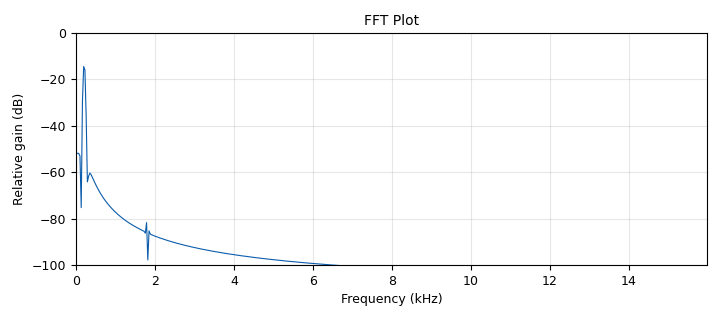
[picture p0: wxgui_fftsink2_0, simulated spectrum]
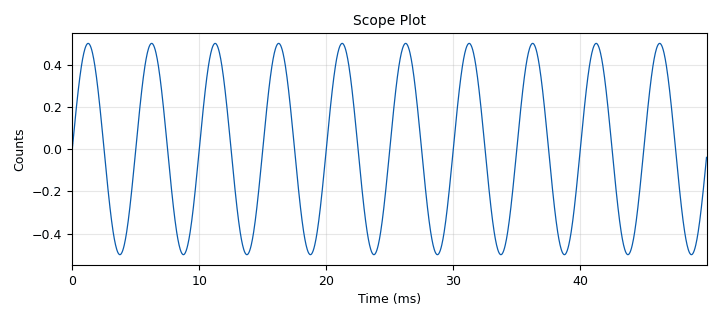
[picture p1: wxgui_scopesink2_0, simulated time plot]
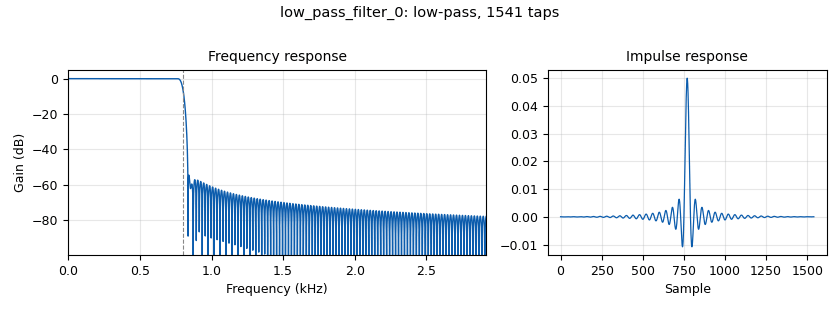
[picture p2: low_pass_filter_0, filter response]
<?xml version='1.0' encoding='utf-8'?>
<?grc format='1' created='3.7.10'?>
<flow_graph>
<block>
<key>options</key>
<param><key>id</key><value>top_block</value></param>
<param><key>generate_options</key><value>wx_gui</value></param>
</block>
<block>
<key>variable</key>
<param><key>id</key><value>samp_rate</value></param>
<param><key>value</key><value>32000</value></param>
</block>
<block>
<key>analog_sig_source_x</key>
<param><key>id</key><value>analog_sig_source_x_0</value></param>
<param><key>amp</key><value>1</value></param>
<param><key>freq</key><value>1000</value></param>
<param><key>offset</key><value>0</value></param>
<param><key>type</key><value>float</value></param>
<param><key>samp_rate</key><value>samp_rate</value></param>
<param><key>waveform</key><value>analog.GR_COS_WAVE</value></param>
</block>
<block>
<key>analog_sig_source_x</key>
<param><key>id</key><value>analog_sig_source_x_1</value></param>
<param><key>amp</key><value>1</value></param>
<param><key>freq</key><value>800</value></param>
<param><key>offset</key><value>0</value></param>
<param><key>type</key><value>float</value></param>
<param><key>samp_rate</key><value>samp_rate</value></param>
<param><key>waveform</key><value>analog.GR_COS_WAVE</value></param>
</block>
<block>
<key>audio_sink</key>
<param><key>id</key><value>audio_sink_0</value></param>
<param><key>samp_rate</key><value>samp_rate</value></param>
</block>
<block>
<key>blocks_multiply_xx</key>
<param><key>id</key><value>blocks_multiply_xx_0</value></param>
<param><key>type</key><value>float</value></param>
</block>
<block>
<key>blocks_throttle</key>
<param><key>id</key><value>blocks_throttle_0</value></param>
<param><key>samples_per_second</key><value>samp_rate</value></param>
<param><key>type</key><value>float</value></param>
</block>
<block>
<key>low_pass_filter</key>
<param><key>id</key><value>low_pass_filter_0</value></param>
<param><key>cutoff_freq</key><value>800</value></param>
<param><key>decim</key><value>1</value></param>
<param><key>type</key><value>fir_filter_fff</value></param>
<param><key>gain</key><value>1</value></param>
<param><key>samp_rate</key><value>samp_rate</value></param>
<param><key>width</key><value>50</value></param>
<param><key>win</key><value>firdes.WIN_HAMMING</value></param>
</block>
<block>
<key>notebook</key>
<param><key>id</key><value>notebook_0</value></param>
<param><key>grid_pos</key><value>0,0,10,10</value></param>
<param><key>labels</key><value>['FFT Plot','Scope Plot']</value></param>
<param><key>style</key><value>wx.NB_TOP</value></param>
</block>
<block>
<key>wxgui_fftsink2</key>
<param><key>id</key><value>wxgui_fftsink2_0</value></param>
<param><key>avg_alpha</key><value>0</value></param>
<param><key>average</key><value>False</value></param>
<param><key>baseband_freq</key><value>0</value></param>
<param><key>fft_size</key><value>1024</value></param>
<param><key>freqvar</key><value>None</value></param>
<param><key>notebook</key><value>notebook_0,0</value></param>
<param><key>peak_hold</key><value>False</value></param>
<param><key>ref_level</key><value>0</value></param>
<param><key>ref_scale</key><value>2.0</value></param>
<param><key>fft_rate</key><value>15</value></param>
<param><key>samp_rate</key><value>samp_rate</value></param>
<param><key>title</key><value>FFT Plot</value></param>
<param><key>type</key><value>float</value></param>
<param><key>win</key><value>window.hamming</value></param>
<param><key>y_divs</key><value>10</value></param>
<param><key>y_per_div</key><value>10</value></param>
</block>
<block>
<key>wxgui_scopesink2</key>
<param><key>id</key><value>wxgui_scopesink2_0</value></param>
<param><key>ac_couple</key><value>False</value></param>
<param><key>notebook</key><value>notebook_0,1</value></param>
<param><key>num_inputs</key><value>1</value></param>
<param><key>samp_rate</key><value>samp_rate</value></param>
<param><key>t_scale</key><value>0</value></param>
<param><key>title</key><value>Scope Plot</value></param>
<param><key>trig_mode</key><value>wxgui.TRIG_MODE_AUTO</value></param>
<param><key>type</key><value>float</value></param>
<param><key>v_offset</key><value>0</value></param>
<param><key>v_scale</key><value>0</value></param>
<param><key>xy_mode</key><value>False</value></param>
<param><key>y_axis_label</key><value>Counts</value></param>
</block>
<connection><source_block_id>analog_sig_source_x_0</source_block_id><sink_block_id>blocks_multiply_xx_0</sink_block_id><source_key>0</source_key><sink_key>0</sink_key></connection>
<connection><source_block_id>analog_sig_source_x_1</source_block_id><sink_block_id>blocks_multiply_xx_0</sink_block_id><source_key>0</source_key><sink_key>1</sink_key></connection>
<connection><source_block_id>blocks_multiply_xx_0</source_block_id><sink_block_id>low_pass_filter_0</sink_block_id><source_key>0</source_key><sink_key>0</sink_key></connection>
<connection><source_block_id>blocks_throttle_0</source_block_id><sink_block_id>audio_sink_0</sink_block_id><source_key>0</source_key><sink_key>0</sink_key></connection>
<connection><source_block_id>blocks_throttle_0</source_block_id><sink_block_id>wxgui_fftsink2_0</sink_block_id><source_key>0</source_key><sink_key>0</sink_key></connection>
<connection><source_block_id>blocks_throttle_0</source_block_id><sink_block_id>wxgui_scopesink2_0</sink_block_id><source_key>0</source_key><sink_key>0</sink_key></connection>
<connection><source_block_id>low_pass_filter_0</source_block_id><sink_block_id>blocks_throttle_0</sink_block_id><source_key>0</source_key><sink_key>0</sink_key></connection>
</flow_graph>
